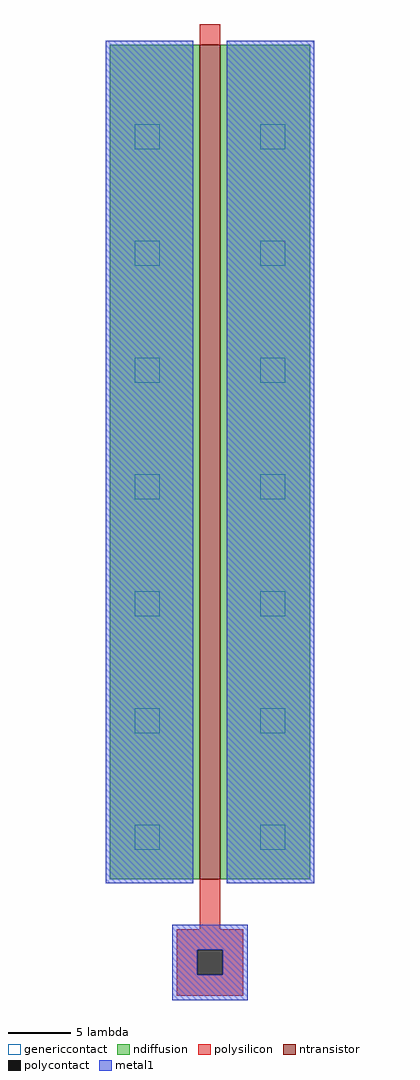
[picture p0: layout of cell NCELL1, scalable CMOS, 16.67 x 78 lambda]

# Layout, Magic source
magic
tech scmos
magscale 1 6
<< ntransistor >>
rect 43 0 53 400
<< ndiffusion >>
rect 0 0 43 400
rect 53 0 96 400
<< polysilicon >>
rect 43 400 53 410
rect 43 -24 53 0
<< metal1 >>
rect -2 -2 40 402
rect 56 -2 98 402
use CONT  CONT_0
array 0 0 0 0 6 56
transform 1 0 78 0 1 20
box -6 -6 6 6
use CONT  CONT_1
array 0 0 0 0 6 56
transform 1 0 18 0 1 20
box -6 -6 6 6
use poly1cont_CDNS_704676826053  poly1cont_CDNS_704676826053_0
transform -1 0 66 0 -1 -22
box 0 0 36 36
<< end >>

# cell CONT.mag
magic
tech scmos
<< genericcontact >>
rect -1 -1 1 1
<< end >>

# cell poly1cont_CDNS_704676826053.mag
magic
tech scmos
magscale 1 3
<< polysilicon >>
rect 1 12 17 17
rect 1 6 6 12
rect 12 6 17 12
rect 1 1 17 6
<< polycontact >>
rect 6 6 12 12
<< metal1 >>
rect 0 12 18 18
rect 0 6 6 12
rect 12 6 18 12
rect 0 0 18 6
<< end >>
